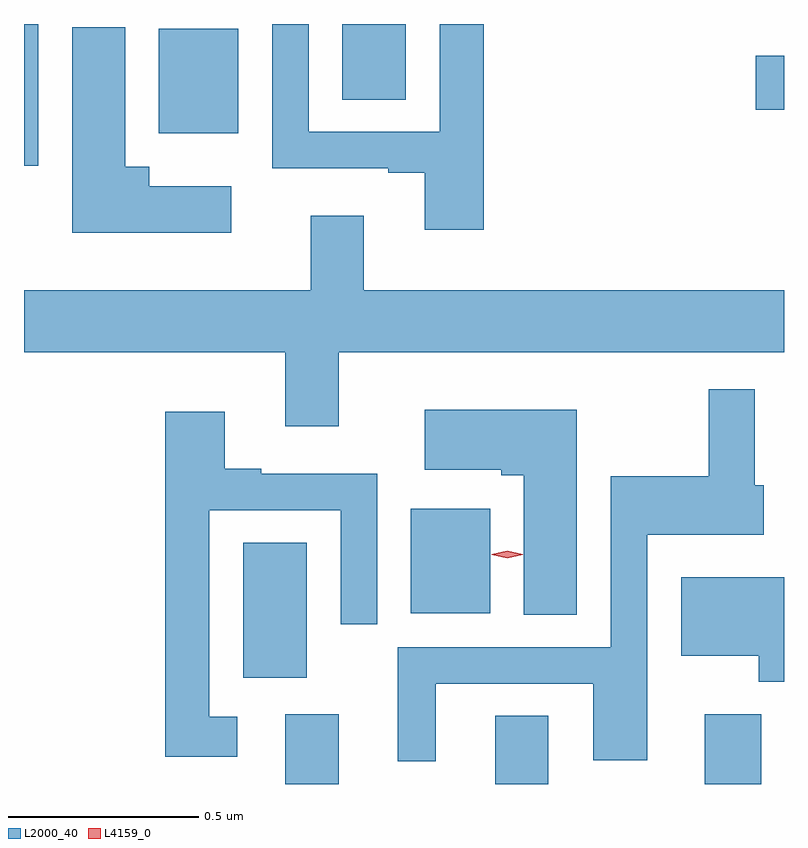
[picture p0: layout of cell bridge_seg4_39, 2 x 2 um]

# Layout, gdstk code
import gdstk
lib = gdstk.Library(unit=1e-6, precision=1e-09)
def R(c, l, rs):  # rectangles x0, y0, x1, y1
    for r in rs: c.add(gdstk.rectangle(r[:2], r[2:], *l))
def P(c, l, *ps):  # polygons
    for p in ps: c.add(gdstk.Polygon(p, *l))
L2000_40 = (2000, 40)
L4159_0 = (4159, 0)

bridge_seg4_39 = lib.new_cell('bridge_seg4_39')
R(bridge_seg4_39, L2000_40, [(678.917,809.004,679.057,809.188), (679.469,809.004,679.609,809.183), (680.021,809.004,680.169,809.188), (678.806,809.283,678.973,809.639), (679.247,809.453,679.456,809.728), (678.229,810.631,678.267,811.004), (678.584,810.716,678.793,810.991), (680.154,810.778,680.229,810.92), (679.067,810.805,679.234,811.004)])
P(bridge_seg4_39, L2000_40, [(679.439,811.004),(679.323,811.004),(679.323,810.72),(678.978,810.72),(678.978,811.004),(678.882,811.004),(678.882,810.624),(679.187,810.624),(679.187,810.612),(679.283,810.612),(679.283,810.462),(679.439,810.462)],
  [(678.775,810.577),(678.559,810.577),(678.559,810.628),(678.496,810.628),(678.496,810.995),(678.356,810.995),(678.356,810.455),(678.775,810.455)],
  [(679.057,810.14),(680.229,810.14),(680.229,810.304),(679.123,810.304),(679.123,810.499),(678.983,810.499),(678.983,810.304),(678.229,810.304),(678.229,810.14),(678.917,810.14),(678.917,809.946),(679.057,809.946)],
  [(679.312,809.268),(679.727,809.268),(679.727,809.067),(679.869,809.067),(679.869,809.66),(680.176,809.66),(680.176,809.79),(680.152,809.79),(680.152,810.043),(680.031,810.043),(680.031,809.814),(679.773,809.814),(679.773,809.364),(679.213,809.364),(679.213,809.064),(679.312,809.064)],
  [(679.684,809.989),(679.284,809.989),(679.284,809.831),(679.485,809.831),(679.485,809.816),(679.544,809.816),(679.544,809.449),(679.684,809.449)],
  [(678.79,809.181),(678.717,809.181),(678.717,809.724),(679.062,809.724),(679.062,809.424),(679.158,809.424),(679.158,809.82),(678.853,809.82),(678.853,809.833),(678.757,809.833),(678.757,809.983),(678.601,809.983),(678.601,809.076),(678.79,809.076)],
  [(680.229,809.548),(679.958,809.548),(679.958,809.342),(680.162,809.342),(680.162,809.273),(680.229,809.273)])
P(bridge_seg4_39, L4159_0, [(679.501,809.598),(679.46,809.607),(679.46,809.608),(679.46,809.608),(679.501,809.618),(679.542,809.608),(679.542,809.608),(679.542,809.607)])

lib.write_gds('bridge_seg4_39.gds')
